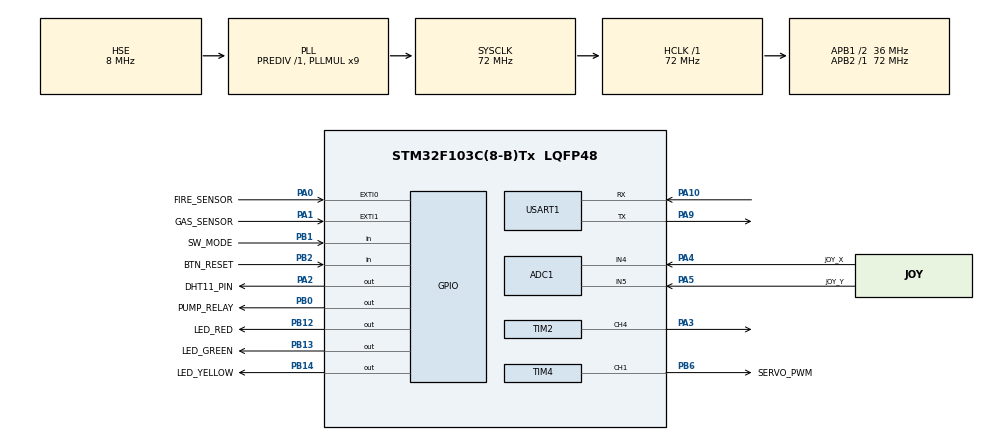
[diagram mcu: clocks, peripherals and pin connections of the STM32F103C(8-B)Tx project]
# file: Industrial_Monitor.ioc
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ADC1.Channel-0\#ChannelRegularConversion=ADC_CHANNEL_4
ADC1.Channel-1\#ChannelRegularConversion=ADC_CHANNEL_5
ADC1.ContinuousConvMode=ENABLE
ADC1.NbrOfConversion=2
ADC1.NbrOfConversionFlag=1
ADC1.Rank-0\#ChannelRegularConversion=1
ADC1.Rank-1\#ChannelRegularConversion=2
ADC1.SamplingTime-0\#ChannelRegularConversion=ADC_SAMPLETIME_239CYCLES_5
ADC1.SamplingTime-1\#ChannelRegularConversion=ADC_SAMPLETIME_239CYCLES_5
ADC1.master=1
Dma.ADC1.0.Direction=DMA_PERIPH_TO_MEMORY
Dma.ADC1.0.Instance=DMA1_Channel1
Dma.ADC1.0.MemDataAlignment=DMA_MDATAALIGN_HALFWORD
Dma.ADC1.0.MemInc=DMA_MINC_ENABLE
Dma.ADC1.0.Mode=DMA_CIRCULAR
Dma.ADC1.0.PeriphDataAlignment=DMA_PDATAALIGN_HALFWORD
Dma.ADC1.0.PeriphInc=DMA_PINC_DISABLE
Dma.ADC1.0.Priority=DMA_PRIORITY_LOW
Dma.Request0=ADC1
Dma.Request1=USART1_TX
Dma.USART1_TX.1.Direction=DMA_MEMORY_TO_PERIPH
Dma.USART1_TX.1.Instance=DMA1_Channel4
Dma.USART1_TX.1.MemDataAlignment=DMA_MDATAALIGN_BYTE
Dma.USART1_TX.1.MemInc=DMA_MINC_ENABLE
Dma.USART1_TX.1.Mode=DMA_NORMAL
Dma.USART1_TX.1.PeriphDataAlignment=DMA_PDATAALIGN_BYTE
Dma.USART1_TX.1.PeriphInc=DMA_PINC_DISABLE
Dma.USART1_TX.1.Priority=DMA_PRIORITY_LOW
Mcu.Family=STM32F1
Mcu.Name=STM32F103C(8-B)Tx
Mcu.Package=LQFP48
NVIC.DMA1_Channel1_IRQn=true\:0\:0\:false\:false\:true\:false\:true\:true
NVIC.DMA1_Channel4_IRQn=true\:0\:0\:false\:false\:true\:false\:true\:true
NVIC.PriorityGroup=NVIC_PRIORITYGROUP_4
NVIC.USART1_IRQn=true\:0\:0\:false\:false\:true\:true\:true\:true
PA0-WKUP.GPIO_Label=FIRE_SENSOR
PA0-WKUP.Signal=GPXTI0
PA1.GPIO_Label=GAS_SENSOR
PA1.Signal=GPXTI1
PA10.Mode=Asynchronous
PA10.Signal=USART1_RX
PA13.Mode=Serial_Wire
PA13.Signal=SYS_JTMS-SWDIO
PA14.Mode=Serial_Wire
PA14.Signal=SYS_JTCK-SWCLK
PA2.GPIO_Label=DHT11_PIN
PA2.Signal=GPIO_Output
PA3.Signal=S_TIM2_CH4
PA4.GPIO_Label=JOY_X
PA4.Signal=ADCx_IN4
PA5.GPIO_Label=JOY_Y
PA5.Signal=ADCx_IN5
PA9.Mode=Asynchronous
PA9.Signal=USART1_TX
PB0.GPIO_Label=PUMP_RELAY
PB0.Signal=GPIO_Output
PB1.GPIO_Label=SW_MODE
PB1.Signal=GPIO_Input
PB12.GPIO_Label=LED_RED
PB12.Signal=GPIO_Output
PB13.GPIO_Label=LED_GREEN
PB13.Signal=GPIO_Output
PB14.GPIO_Label=LED_YELLOW
PB14.Signal=GPIO_Output
PB2.GPIO_Label=BTN_RESET
PB2.Signal=GPIO_Input
PB6.GPIO_Label=SERVO_PWM
PB6.Signal=S_TIM4_CH1
PD0-OSC_IN.Mode=HSE-External-Oscillator
PD0-OSC_IN.Signal=RCC_OSC_IN
PD1-OSC_OUT.Mode=HSE-External-Oscillator
PD1-OSC_OUT.Signal=RCC_OSC_OUT
ProjectManager.HeapSize=0x200
ProjectManager.StackSize=0x400
ProjectManager.TargetToolchain=CMake
RCC.ADCPresc=RCC_ADCPCLK2_DIV6
RCC.AHBFreq_Value=72000000
RCC.APB1CLKDivider=RCC_HCLK_DIV2
RCC.APB1Freq_Value=36000000
RCC.APB1TimFreq_Value=72000000
RCC.APB2Freq_Value=72000000
RCC.APB2TimFreq_Value=72000000
RCC.HCLKFreq_Value=72000000
RCC.PLLMUL=RCC_PLL_MUL9
RCC.PLLSourceVirtual=RCC_PLLSOURCE_HSE
RCC.SYSCLKFreq_VALUE=72000000
RCC.SYSCLKSource=RCC_SYSCLKSOURCE_PLLCLK
RCC.USBFreq_Value=72000000
SH.ADCx_IN4.0=ADC1_IN4,IN4
SH.ADCx_IN5.0=ADC1_IN5,IN5
SH.S_TIM2_CH4.0=TIM2_CH4,PWM Generation4 CH4
SH.S_TIM4_CH1.0=TIM4_CH1,PWM Generation1 CH1
TIM2.Channel-PWM\ Generation4\ CH4=TIM_CHANNEL_4
TIM2.Period=999
TIM2.Prescaler=71
TIM4.Channel-PWM\ Generation1\ CH1=TIM_CHANNEL_1
TIM4.Period=19999
TIM4.Prescaler=71
USART1.VirtualMode=VM_ASYNC
VP_TIM4_VS_ClockSourceINT.Mode=Internal
board=custom

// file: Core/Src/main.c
/* USER CODE BEGIN Header */
/**
  ******************************************************************************
  * @file           : main.c
  * @brief          : Main program body
  ******************************************************************************
  * @attention
  *
  * Copyright (c) 2026 STMicroelectronics.
  * All rights reserved.
  *
  * This software is licensed under terms that can be found in the LICENSE file
  * in the root directory of this software component.
  * If no LICENSE file comes with this software, it is provided AS-IS.
  *
  ******************************************************************************
  */
/* USER CODE END Header */
#include "main.h"
#include "adc.h"
#include "dma.h"
#include "tim.h"
#include "usart.h"
#include "gpio.h"

/* USER CODE BEGIN Includes */
#include "app_main.h"
#include <stdbool.h>
#include <stdio.h>
/* USER CODE END Includes */

/* USER CODE BEGIN PV */
extern uint8_t rx_byte;
extern void App_Send_Alert(char* msg);
/* USER CODE END PV */

void SystemClock_Config(void);

int main(void)
{

  /* MCU Configuration--------------------------------------------------------*/

  /* Reset of all peripherals, Initializes the Flash interface and the Systick. */
  HAL_Init();

  /* Configure the system clock */
  SystemClock_Config();

  /* Initialize all configured peripherals */
  MX_GPIO_Init();
  MX_DMA_Init();
  MX_ADC1_Init();
  MX_TIM4_Init();
  MX_USART1_UART_Init();
  MX_TIM2_Init();
  /* USER CODE BEGIN 2 */
  BSP_Init();
  App_AO_Init();
  Active_init(&App_AO);
  HAL_UART_Receive_IT(&huart1, &rx_byte, 1);

  // Khai báo biến lưu trạng thái cũ để bắt sườn (Fix Bug 2)
  bool last_fire = false;
  bool last_gas = false;
  bool last_sw_mode = true; //nút chưa bấm thì chân ở mức 1 (PULLUP)
  bool last_btn_reset = true;
  uint32_t last_poll_time = 0;
  uint32_t last_dht11_time = 0;

  BSP_Init();
  App_AO_Init();
  Active_init(&App_AO);

  HAL_UART_Receive_IT(&huart1, &rx_byte, 1); //gọi trước lần đầu tiên bên ngoài ngắt

  /* USER CODE END 2 */

  /* Infinite loop */
  /* USER CODE BEGIN WHILE */
  while (1){
    //50ms thì đọc các cảm biến lửa, gas và joystick 1 lần
    if (HAL_GetTick() - last_poll_time >= 50) {
      last_poll_time = HAL_GetTick(); //cập nhật lại mốc thời gian

      bool current_fire = BSP_GetFireStatus();
      if (current_fire == true && last_fire == false) {
          Event e = { .sig = FIRE_DETECTED_SIG, .param = 0 };
          Active_post(&App_AO, e); // Kích hoạt sự kiện có cháy
      }
      last_fire = current_fire;

      // 2. Quét cảm biến gas
      bool current_gas = BSP_GetGasStatus();
      if (current_gas == true && last_gas == false) {
          // Cạnh lên: Bắt đầu phát hiện có khói/gas
          Event e = { .sig = GAS_DETECTED_SIG, .param = 0 };
          Active_post(&App_AO, e);
      }
      else if (current_gas == false && last_gas == true) {
          // Cạnh xuống: Cắm lại dây khói (hết khói) trong lúc vẫn còn cháy
          if (BSP_GetFireStatus() == true) {
              App_Send_Alert("CLEAR: SMOKE_OFF\r\n"); // Tắt ngay đèn khói trên Blynk
          }
      }
      last_gas = current_gas;

      static int8_t last_joy_x = 0;
      int8_t current_joy_x, current_joy_y;
      BSP_GetJoystickXY(&current_joy_x, &current_joy_y);// khai báo joy_y nhưng không sử dụng vì chỉ dùng có 1 servo->dùng trục x để map
      if (current_joy_x != last_joy_x) { //chỉ đưa event vào buffer khi thấy x thay đổi
        //x:      -100  =>  100
        //servo:  0'    =>  180'
        //=> độ = (x+100)*180/200
          Event e;
          e.sig = JOYSTICK_MOVED_SIG;
          e.param = (uint32_t)((current_joy_x + 100) * 180 / 200);
          Active_post(&App_AO, e);

          last_joy_x = current_joy_x;//cập nhật last_joy_x
      }

      // quét button SW_MODE
      //đọc chân PB1 (Active-Low: bấm xuống thì chân bị nối GND -> Mức 0)
        bool current_sw_mode = (HAL_GPIO_ReadPin(GPIOB, SW_MODE_Pin) == GPIO_PIN_SET);

        //nếu trạng thái cũ là 1 (Chưa bấm) và hiện tại là 0 (Đang bấm)
        if (current_sw_mode == false && last_sw_mode == true) {
            Event e; e.sig = MODE_SWITCH_SIG;
            Active_post(&App_AO, e); // gửi thư yêu cầu chuyển chế độ
        }
        last_sw_mode = current_sw_mode; // Lưu lại cho vòng sau

        // quét BTN_RESET
        bool current_btn_reset = (HAL_GPIO_ReadPin(GPIOB, BTN_RESET_Pin) == GPIO_PIN_SET);
        if (current_btn_reset == false && last_btn_reset == true) {
            Event e;
            e.sig = RESET_SIG;
            Active_post(&App_AO, e);
        }
        last_btn_reset = current_btn_reset;
    }
    //đọc cảm biến dht11 mỗi 2 giây
    if (HAL_GetTick() - last_dht11_time >= 2000) {
          last_dht11_time = HAL_GetTick();

          uint8_t temp = 0, hum = 0;
          if (BSP_ReadDHT11(&temp, &hum) == 1) { //nếu đọc thành công
            char data_msg[64];
              sprintf(data_msg, "DATA: TEMP = %u, HUM = %u\r\n", temp, hum);
              App_Send_Alert(data_msg);
              if (temp > 45) { //khi nhiệt độ quá cao
                  Event e;
                  e.sig = TEMP_HIGH_SIG; //gửi tín hiệu warning sắp có cháy
                  e.param = (temp << 8) | hum;//parm 32 bit có thể chứa cả temp và hum (mỗi cái 8 bit)
                  Active_post(&App_AO, e);
              }
          }
    }
    /* USER CODE BEGIN 3 */
    //liên tục lấy sự kiện từ buffer ra để xử lý
    Active_dispatch(&App_AO);
  }
  /* USER CODE END 3 */
}

void SystemClock_Config(void)
{
  RCC_OscInitTypeDef RCC_OscInitStruct = {0};
  RCC_ClkInitTypeDef RCC_ClkInitStruct = {0};
  RCC_PeriphCLKInitTypeDef PeriphClkInit = {0};

  /** Initializes the RCC Oscillators according to the specified parameters
  * in the RCC_OscInitTypeDef structure.
  */
  RCC_OscInitStruct.OscillatorType = RCC_OSCILLATORTYPE_HSE;
  RCC_OscInitStruct.HSEState = RCC_HSE_ON;
  RCC_OscInitStruct.HSEPredivValue = RCC_HSE_PREDIV_DIV1;
  RCC_OscInitStruct.HSIState = RCC_HSI_ON;
  RCC_OscInitStruct.PLL.PLLState = RCC_PLL_ON;
  RCC_OscInitStruct.PLL.PLLSource = RCC_PLLSOURCE_HSE;
  RCC_OscInitStruct.PLL.PLLMUL = RCC_PLL_MUL9;
  if (HAL_RCC_OscConfig(&RCC_OscInitStruct) != HAL_OK)
  {
    Error_Handler();
  }

  /** Initializes the CPU, AHB and APB buses clocks
  */
  RCC_ClkInitStruct.ClockType = RCC_CLOCKTYPE_HCLK|RCC_CLOCKTYPE_SYSCLK
                              |RCC_CLOCKTYPE_PCLK1|RCC_CLOCKTYPE_PCLK2;
  RCC_ClkInitStruct.SYSCLKSource = RCC_SYSCLKSOURCE_PLLCLK;
  RCC_ClkInitStruct.AHBCLKDivider = RCC_SYSCLK_DIV1;
  RCC_ClkInitStruct.APB1CLKDivider = RCC_HCLK_DIV2;
  RCC_ClkInitStruct.APB2CLKDivider = RCC_HCLK_DIV1;

  if (HAL_RCC_ClockConfig(&RCC_ClkInitStruct, FLASH_LATENCY_2) != HAL_OK)
  {
    Error_Handler();
  }
  PeriphClkInit.PeriphClockSelection = RCC_PERIPHCLK_ADC;
  PeriphClkInit.AdcClockSelection = RCC_ADCPCLK2_DIV6;
  if (HAL_RCCEx_PeriphCLKConfig(&PeriphClkInit) != HAL_OK)
  {
    Error_Handler();
  }
}

void Error_Handler(void)
{
  __disable_irq();
  while (1)
  {
  }
}
